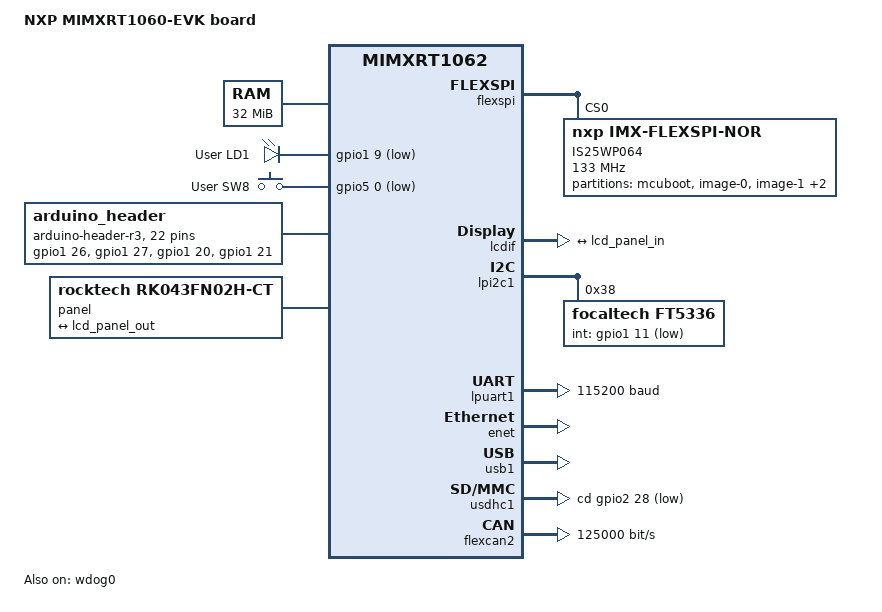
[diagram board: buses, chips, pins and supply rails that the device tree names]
/*
 * Copyright (c) 2018, NXP
 *
 * SPDX-License-Identifier: Apache-2.0
 */

/dts-v1/;

#include <nxp/nxp_rt1060.dtsi>

/ {
	model = "NXP MIMXRT1060-EVK board";
	compatible = "nxp,mimxrt1062";

	aliases {
		led0 = &green_led;
		sw0 = &user_button;
		kscan0 = &touch_controller;
		watchdog0 = &wdog0;
		usbd0 = &usb1;
	};

	chosen {
		zephyr,flash-controller = &flexspi;
		zephyr,flash = &is25wp064;
		zephyr,code-partition = &slot0_partition;
		zephyr,sram = &sdram0;
		zephyr,itcm = &itcm;
		zephyr,dtcm = &dtcm;
		zephyr,console = &lpuart1;
		zephyr,shell-uart = &lpuart1;
		zephyr,can-primary = &flexcan2;
	};

	sdram0: memory@80000000 {
		/* Micron MT48LC16M16A2B4-6AIT:G */
		device_type = "memory";
		reg = <0x80000000 DT_SIZE_M(32)>;
	};

	leds {
		compatible = "gpio-leds";
		green_led: led-1 {
			gpios = <&gpio1 9 GPIO_ACTIVE_LOW>;
			label = "User LD1";
		};
	};

	gpio_keys {
		compatible = "gpio-keys";
		user_button: button-1 {
			label = "User SW8";
			gpios = <&gpio5 0 GPIO_ACTIVE_LOW>;
		};
	};

	arduino_header: connector {
		compatible = "arduino-header-r3";
		#gpio-cells = <2>;
		gpio-map-mask = <0xffffffff 0xffffffc0>;
		gpio-map-pass-thru = <0 0x3f>;
		gpio-map = <0 0 &gpio1 26 0>,	/* A0 */
			   <1 0 &gpio1 27 0>,	/* A1 */
			   <2 0 &gpio1 20 0>,	/* A2 */
			   <3 0 &gpio1 21 0>,	/* A3 */
			   <4 0 &gpio1 17 0>,	/* A4 */
			   <5 0 &gpio1 16 0>,	/* A5 */
			   <6 0 &gpio1 23 0>,	/* D0 */
			   <7 0 &gpio1 22 0>,	/* D1 */
			   <8 0 &gpio1 11 0>,	/* D2 */
			   <9 0 &gpio1 24 0>,	/* D3 */
			   <10 0 &gpio1 9 0>,	/* D4 */
			   <11 0 &gpio1 10 0>,	/* D5 */
			   <12 0 &gpio1 18 0>,	/* D6 */
			   <13 0 &gpio1 19 0>,	/* D7 */
			   <14 0 &gpio1 3 0>,	/* D8 */
			   <15 0 &gpio1 2 0>,	/* D9 */
			   <16 0 &gpio3 13 0>,	/* D10 */
			   <17 0 &gpio3 14 0>,	/* D11 */
			   <18 0 &gpio3 15 0>,	/* D12 */
			   <19 0 &gpio3 12 0>,	/* D13 */
			   <20 0 &gpio1 17 0>,	/* D14 */
			   <21 0 &gpio1 16 0>;	/* D15 */
	};

	panel {
		compatible = "rocktech,rk043fn02h-ct";
		port {
			lcd_panel_in: endpoint {
				remote-endpoint = <&lcd_panel_out>;
			};
		};
	};
};

arduino_serial: &lpuart3 {};

&flexspi {
	status = "okay";
	ahb-prefetch;
	ahb-read-addr-opt;
	rx-clock-source = <1>;
	reg = <0x402a8000 0x4000>, <0x60000000 DT_SIZE_M(8)>;
	is25wp064: is25wp064@0 {
		compatible = "nxp,imx-flexspi-nor";
		size = <67108864>;
		label = "IS25WP064";
		reg = <0>;
		spi-max-frequency = <133000000>;
		status = "okay";
		jedec-id = [9d 70 17];
		erase-block-size = <4096>;
		write-block-size = <1>;

		partitions {
			compatible = "fixed-partitions";
			#address-cells = <1>;
			#size-cells = <1>;

			boot_partition: partition@0 {
				label = "mcuboot";
				reg = <0x00000000 DT_SIZE_K(64)>;
			};
			slot0_partition: partition@10000 {
				label = "image-0";
				reg = <0x00010000 DT_SIZE_M(3)>;
			};
			slot1_partition: partition@310000 {
				label = "image-1";
				reg = <0x00310000 DT_SIZE_M(3)>;
			};
			scratch_partition: partition@610000 {
				label = "image-scratch";
				reg = <0x00610000 DT_SIZE_K(128)>;
			};
			storage_partition: partition@630000 {
				label = "storage";
				reg = <0x00630000 DT_SIZE_K(1856)>;
			};
		};
	};
};

&lcdif {
	status = "okay";
	port {
		lcd_panel_out: endpoint {
			remote-endpoint = <&lcd_panel_in>;
		};
	};
};

&lpi2c1 {
	status = "okay";

	touch_controller: ft5336@38 {
		compatible = "focaltech,ft5336";
		reg = <0x38>;
		label = "FT5336";
		int-gpios = <&gpio1 11 GPIO_ACTIVE_LOW>;
	};
};

&lpuart1 {
	status = "okay";
	current-speed = <115200>;
};

&enet {
	status = "okay";
	ptp {
		status = "okay";
	};
};

&usb1 {
	status = "okay";
};

&usdhc1 {
	status = "okay";
	pwr-gpios = <&gpio1 5 GPIO_ACTIVE_HIGH>;
	cd-gpios = <&gpio2 28 GPIO_ACTIVE_LOW>;
	status = "okay";
};

&edma0 {
	status = "okay";
};

&flexcan2 {
	status = "okay";
	bus-speed = <125000>;
};

&wdog0 {
	status = "okay";
};
